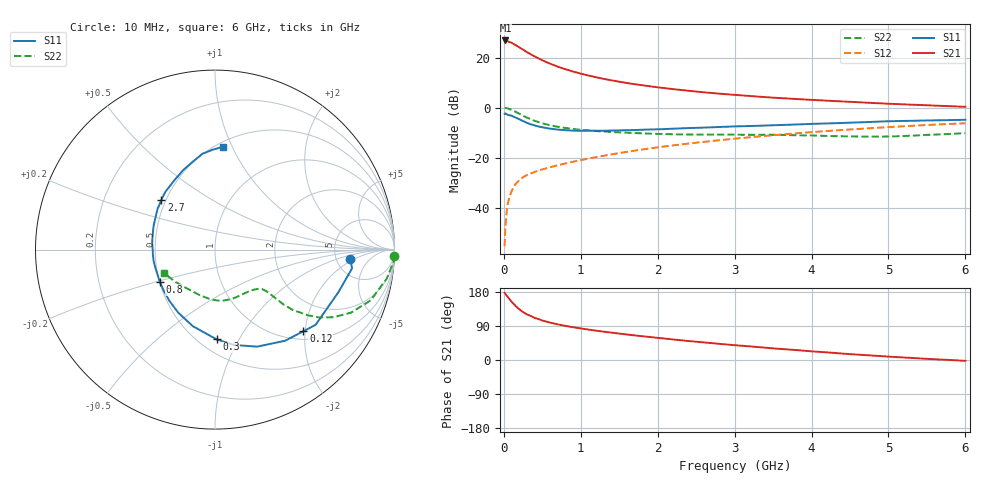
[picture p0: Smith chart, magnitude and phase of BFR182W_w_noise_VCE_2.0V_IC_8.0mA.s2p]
! Infineon Technologies  Discrete & RF Semiconductors
! BFR182W
! VCE =  2.0 V,  IC =  8.0 mA
! Common Emitter S-Parameters:  Jan 2017
# GHz  S  MA  R  50
!  f  S11  S21  S12  S22
! GHz  MAG  ANG  MAG  ANG  MAG  ANG  MAG  ANG
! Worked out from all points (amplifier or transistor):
!   77 points, 10 MHz to 6 GHz, reference 50 ohm
!   highest |S21| = 26.9 dB at 20 MHz (marker M1)
!   |S21| within 3 dB of that: start of sweep to 213.9 MHz
!   unconditionally stable (mu >= 1): 1.115 GHz to 2.797 GHz
!   at 130 MHz: K = 0.25, MSG = 28.6 dB, |S12| = -31.6 dB
!   at 2.2 GHz: K = 1.04, MAG = 10.1 dB, |S12| = -15.1 dB
!   at 6 GHz: K = 0.87, MSG = 3.3 dB, |S12| = -6.2 dB
!   lowest NFmin = 1.00 dB at 450 MHz
!   S11 on the Smith chart (normalised r, x): 10 MHz: 6.77, -1.66; 120 MHz: 1.19, -1.96; 300 MHz: 0.61, -0.81; 800 MHz: 0.50, -0.21; 2.7 GHz: 0.47, +0.31; 6 GHz: 0.54, +0.93
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0.01  0.7557 -4.0  21.89 177.2  0.0017 86.1  0.9957 -1.9
0.02  0.7707 -7.8  22.25 174.6  0.004 88.3  0.9962 -4.0
0.05  0.7272 -19.1  21.42 166.4  0.0118 81.8  0.9705 -9.6
0.06  0.7164 -22.5  21.06 164.0  0.0137 79.3  0.9574 -11.2
0.1  0.6999 -36.8  20.01 153.9  0.0212 73.7  0.9128 -18.0
0.12  0.6704 -42.7  19.17 149.8  0.0245 70.4  0.8808 -20.6
0.15  0.6408 -52.4  18.12 143.0  0.0296 66.8  0.8364 -24.8
0.2  0.5895 -66.5  16.24 133.9  0.0355 63.2  0.7621 -29.6
0.25  0.542 -78.7  14.54 126.3  0.0409 59.7  0.6948 -33.0
0.3  0.5001 -89.0  12.99 120.4  0.0451 58.3  0.6356 -35.2
0.4  0.4441 -106.2  10.66 111.1  0.052 56.5  0.5491 -37.8
0.5  0.4068 -120.2  8.917 104.3  0.0585 56.6  0.4886 -38.7
0.6  0.3822 -131.7  7.654 98.7  0.0644 56.5  0.4467 -38.8
0.8  0.3564 -149.6  5.926 90.1  0.0768 59.3  0.3939 -38.9
1.1  0.3476 -169.3  4.424 80.3  0.0961 61.3  0.3527 -39.6
1.5  0.353 172.1  3.321 69.8  0.1238 62.6  0.3223 -42.9
2.1  0.3757 152.2  2.464 56.4  0.1692 61.8  0.2978 -52.5
2.7  0.4064 137.3  1.978 44.6  0.2161 59.2  0.2901 -65.5
3.1  0.4275 128.7  1.766 37.5  0.2489 56.8  0.2887 -74.1
4.1  0.4808 110.6  1.413 21.5  0.3338 49.1  0.2762 -96.5
5.1  0.5414 96.3  1.188 7.8  0.4184 39.9  0.2688 -128.9
6  0.575 85.4  1.046 -2.2  0.4904 30.7  0.3111 -155.3
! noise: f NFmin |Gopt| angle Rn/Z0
0.45  1  0.12  39  0.15
0.9  1.08  0.12  69  0.15
1.9  1.59  0.18  -174  0.13
2.4  1.85  0.18  -169  0.19
